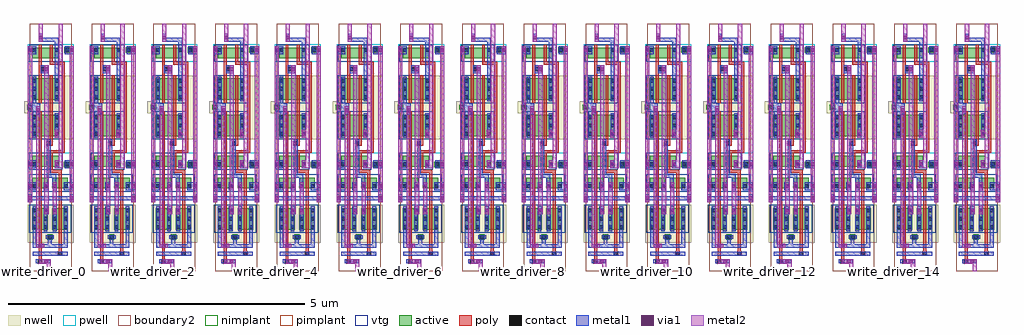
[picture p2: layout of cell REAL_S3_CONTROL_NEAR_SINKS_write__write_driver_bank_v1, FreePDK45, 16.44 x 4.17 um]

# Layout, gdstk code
import gdstk
lib = gdstk.Library(unit=1e-6, precision=1e-09)
def R(c, l, rs):  # rectangles x0, y0, x1, y1
    for r in rs: c.add(gdstk.rectangle(r[:2], r[2:], *l))
def A(c, l, x, y, w, h, nx, ny, dx, dy):  # array of equal rectangles
    R(c, l, [(x+i*dx, y+j*dy, x+i*dx+w, y+j*dy+h) for i in range(nx) for j in range(ny)])
active = (1, 0)
pwell = (2, 0)
nwell = (3, 0)
nimplant = (4, 0)
pimplant = (5, 0)
vtg = (6, 0)
poly = (9, 0)
contact = (10, 0)
metal1 = (11, 0)
via1 = (12, 0)
metal2 = (13, 0)
boundary2 = (239, 0)

real_s3_control_near_sin = lib.new_cell('REAL_S3_CONTROL_NEAR_SINKS_write__write_driver_unit__0__write_driver')
R(real_s3_control_near_sin, active, [(0.292,0.535,0.382,0.625), (0.04,0.705,0.115,1.065), (0.04,0.705,0.115,1.065), (0.04,0.705,0.3,1.065), (0.225,0.705,0.3,1.065), (0.225,0.705,0.3,1.065), (0.38,0.705,0.455,1.065), (0.38,0.705,0.455,1.065), (0.38,0.705,0.64,1.065), (0.565,0.705,0.64,1.065), (0.565,0.705,0.64,1.065), (0.04,0.71,0.115,1.065), (0.225,0.71,0.3,1.065), (0.38,0.71,0.455,1.065), (0.565,0.71,0.64,1.065), (0.04,1.4,0.115,1.58), (0.04,1.4,0.115,1.58), (0.04,1.4,0.3,1.58), (0.04,1.4,0.115,1.475), (0.225,1.4,0.3,1.58), (0.225,1.4,0.3,1.58), (0.225,1.4,0.3,1.475), (0.38,1.4,0.455,1.58), (0.38,1.4,0.455,1.58), (0.38,1.4,0.64,1.58), (0.38,1.4,0.455,1.475), (0.565,1.4,0.64,1.58), (0.565,1.4,0.64,1.58), (0.565,1.4,0.64,1.475), (0.572,1.757,0.662,1.847), (0.04,1.765,0.115,1.945), (0.04,1.765,0.115,1.945), (0.04,1.765,0.115,1.84), (0.04,1.765,0.49,1.945), (0.197,1.765,0.337,1.945), (0.415,1.765,0.49,1.945), (0.415,1.765,0.49,1.945), (0.415,1.765,0.49,1.84), (0.04,2.28,0.115,2.64), (0.04,2.28,0.115,2.64), (0.04,2.28,0.115,2.635), (0.04,2.28,0.49,2.64), (0.197,2.28,0.337,2.64), (0.415,2.28,0.49,2.64), (0.415,2.28,0.49,2.64), (0.415,2.28,0.49,2.635), (-0.045,2.72,0.045,2.81), (0.04,2.892,0.115,3.252), (0.04,2.892,0.115,3.252), (0.04,2.892,0.49,3.252), (0.192,2.892,0.332,3.252), (0.415,2.892,0.49,3.252), (0.415,2.892,0.49,3.252), (0.04,2.897,0.115,3.252), (0.415,2.897,0.49,3.252), (0.04,3.587,0.115,3.767), (0.04,3.587,0.115,3.767), (0.04,3.587,0.49,3.767), (0.192,3.587,0.332,3.767), (0.415,3.587,0.49,3.767), (0.415,3.587,0.49,3.767), (0.575,3.685,0.665,3.775), (0.04,3.692,0.115,3.767), (0.415,3.692,0.49,3.767)])
R(real_s3_control_near_sin, pwell, [(-0.035,1.345,0.74,2), (-0.015,1.345,0.355,1.635), (0.325,1.345,0.695,1.635), (0.517,1.702,0.717,1.902), (-0.015,1.71,0.545,2), (-0.035,3.532,0.74,3.83), (-0.015,3.532,0.545,3.822), (0.52,3.63,0.72,3.83)])
R(real_s3_control_near_sin, nwell, [(-0.035,0.48,0.74,1.12), (0.237,0.48,0.437,0.68), (-0.015,0.65,0.355,1.12), (0.325,0.65,0.695,1.12), (-0.035,2.225,0.74,3.3), (-0.015,2.225,0.545,2.695), (-0.1,2.665,0.1,2.865), (-0.015,2.837,0.545,3.307)])
R(real_s3_control_near_sin, nimplant, [(0.292,0.535,0.382,0.625), (0.04,1.4,0.3,1.58), (0.38,1.4,0.64,1.58), (0.04,1.765,0.49,1.945), (-0.045,2.72,0.045,2.81), (0.04,3.587,0.49,3.767)])
R(real_s3_control_near_sin, pimplant, [(0.04,0.705,0.3,1.065), (0.38,0.705,0.64,1.065), (0.572,1.757,0.662,1.847), (0.04,2.28,0.49,2.64), (0.04,2.892,0.49,3.252), (0.575,3.685,0.665,3.775)])
R(real_s3_control_near_sin, vtg, [(-0.015,0.65,0.355,1.12), (0.325,0.65,0.695,1.12), (-0.015,1.345,0.355,1.635), (0.325,1.345,0.695,1.635), (-0.015,1.71,0.545,2), (-0.015,2.225,0.545,2.695), (-0.015,2.837,0.545,3.307), (-0.015,3.532,0.545,3.822)])
R(real_s3_control_near_sin, poly, [(0.132,0.132,0.207,0.207), (0.145,0.137,0.195,0.65), (0.472,0.262,0.547,0.337), (0.485,0.267,0.535,0.65), (0.145,0.65,0.195,0.705), (0.145,0.65,0.195,1.12), (0.485,0.65,0.535,0.705), (0.485,0.65,0.535,1.12), (0.145,1.065,0.195,1.12), (0.485,1.065,0.535,1.12), (0.145,1.12,0.195,1.345), (0.485,1.12,0.535,1.345), (0.145,1.345,0.195,1.635), (0.145,1.345,0.195,1.4), (0.485,1.345,0.535,1.635), (0.485,1.345,0.535,1.4), (0.145,1.58,0.195,1.635), (0.485,1.58,0.535,1.635), (0.145,1.635,0.195,1.71), (0.485,1.635,0.535,1.66), (0.335,1.66,0.535,1.71), (0.145,1.71,0.195,2), (0.145,1.71,0.195,1.765), (0.335,1.71,0.385,2), (0.335,1.71,0.385,1.765), (0.145,1.945,0.195,2), (0.335,1.945,0.385,2), (0.335,1.995,0.59,2.045), (0.54,1.995,0.59,3.482), (0.145,2,0.195,2.225), (0.277,2.12,0.352,2.195), (0.335,2.12,0.385,2.225), (0.145,2.225,0.195,2.28), (0.145,2.225,0.195,2.695), (0.335,2.225,0.385,2.28), (0.335,2.225,0.385,2.695), (0.145,2.64,0.195,2.695), (0.335,2.64,0.385,2.695), (0.335,2.695,0.385,2.837), (0.145,2.837,0.195,2.892), (0.145,2.837,0.195,3.307), (0.335,2.837,0.385,2.892), (0.335,2.837,0.385,3.307), (0.145,3.252,0.195,3.307), (0.335,3.252,0.385,3.307), (0.145,3.307,0.195,3.532), (0.18,3.37,0.255,3.445), (0.335,3.482,0.59,3.532), (0.145,3.532,0.195,3.822), (0.145,3.532,0.195,3.587), (0.335,3.532,0.385,3.822), (0.335,3.532,0.385,3.587), (0.145,3.767,0.195,3.822), (0.335,3.767,0.385,3.822)])
A(real_s3_control_near_sin, contact, 0.045, 0.715, 0.065, 0.065, 1, 3, 0, 0.14)
A(real_s3_control_near_sin, contact, 0.23, 0.715, 0.065, 0.065, 1, 3, 0, 0.14)
A(real_s3_control_near_sin, contact, 0.385, 0.715, 0.065, 0.065, 1, 3, 0, 0.14)
A(real_s3_control_near_sin, contact, 0.57, 0.715, 0.065, 0.065, 1, 3, 0, 0.14)
A(real_s3_control_near_sin, contact, 0.045, 2.285, 0.065, 0.065, 1, 3, 0, 0.14)
A(real_s3_control_near_sin, contact, 0.42, 2.285, 0.065, 0.065, 1, 3, 0, 0.14)
A(real_s3_control_near_sin, contact, 0.045, 2.902, 0.065, 0.065, 1, 3, 0, 0.14)
A(real_s3_control_near_sin, contact, 0.42, 2.902, 0.065, 0.065, 1, 3, 0, 0.14)
R(real_s3_control_near_sin, contact, [(0.137,0.137,0.202,0.202), (0.477,0.267,0.542,0.332), (0.305,0.547,0.37,0.612), (0.045,1.405,0.11,1.47), (0.23,1.405,0.295,1.47), (0.385,1.405,0.45,1.47), (0.57,1.405,0.635,1.47), (0.045,1.77,0.11,1.835), (0.42,1.77,0.485,1.835), (0.585,1.77,0.65,1.835), (0.282,2.125,0.347,2.19), (-0.032,2.732,0.032,2.797), (0.185,3.375,0.25,3.44), (0.045,3.697,0.11,3.762), (0.42,3.697,0.485,3.762), (0.587,3.697,0.652,3.762)])
R(real_s3_control_near_sin, metal1, [(0.207,0.135,0.342,0.2), (0.102,0.137,0.237,0.202), (0.045,0.267,0.635,0.332), (0.045,0.397,0.635,0.462), (0.105,0.397,0.24,0.462), (0.045,0.462,0.11,0.68), (0.302,0.462,0.367,0.612), (0.57,0.462,0.635,0.68), (0.27,0.547,0.405,0.612), (0.045,0.68,0.11,1.095), (0.23,0.68,0.295,1.095), (0.385,0.68,0.45,1.095), (0.57,0.68,0.635,1.095), (0.247,0.96,0.312,1.095), (0.387,0.96,0.452,1.095), (-0.032,1.165,0.032,1.3), (0.672,1.165,0.737,1.3), (-0.035,1.2,0.74,1.265), (-0.032,1.37,0.032,1.505), (0.027,1.37,0.04,1.505), (0.035,1.37,0.045,1.505), (0.045,1.37,0.11,1.505), (0.23,1.37,0.295,1.505), (0.247,1.37,0.312,1.505), (0.385,1.37,0.45,1.505), (0.387,1.37,0.452,1.505), (0.57,1.37,0.635,1.505), (0.63,1.37,0.672,1.505), (0.672,1.37,0.737,1.505), (0.38,1.452,0.445,1.577), (0.282,1.577,0.347,2.175), (0.282,1.577,0.445,1.642), (-0.032,1.735,0.032,1.87), (0.027,1.735,0.04,1.87), (0.035,1.735,0.045,1.87), (0.045,1.735,0.11,1.87), (0.417,1.735,0.482,1.87), (0.42,1.735,0.485,1.87), (0.585,1.735,0.65,1.87), (0.65,1.735,0.672,1.87), (0.672,1.735,0.737,1.87), (0.282,2.09,0.347,2.225), (0.045,2.25,0.11,2.665), (0.417,2.25,0.482,2.385), (0.42,2.25,0.485,2.665), (0.095,2.65,0.11,2.785), (0.107,2.65,0.172,2.785), (0.045,2.665,0.11,2.867), (-0.032,2.697,0.032,2.832), (0.032,2.697,0.175,2.832), (0.045,2.867,0.11,3.282), (0.42,2.867,0.485,3.282), (0.42,3.282,0.485,3.662), (0.185,3.34,0.25,3.475), (0.247,3.34,0.312,3.475), (-0.032,3.662,0.032,3.797), (0.027,3.662,0.04,3.797), (0.035,3.662,0.045,3.797), (0.045,3.662,0.11,3.797), (0.42,3.662,0.485,3.797), (0.587,3.662,0.652,3.797), (0.652,3.662,0.672,3.797), (0.672,3.662,0.737,3.797), (0.42,3.797,0.485,3.872), (0.15,3.872,0.485,3.937), (0.152,3.872,0.217,4.007)])
R(real_s3_control_near_sin, via1, [(0.242,0.135,0.307,0.2), (0.14,0.397,0.205,0.462), (0.247,0.995,0.312,1.06), (0.387,0.995,0.452,1.06), (-0.032,1.2,0.032,1.265), (0.672,1.2,0.737,1.265), (-0.032,1.405,0.032,1.47), (0.247,1.405,0.312,1.47), (0.387,1.405,0.452,1.47), (0.672,1.405,0.737,1.47), (-0.032,1.77,0.032,1.835), (0.417,1.77,0.482,1.835), (0.672,1.77,0.737,1.835), (0.417,2.285,0.482,2.35), (0.107,2.685,0.172,2.75), (0.247,3.375,0.312,3.44), (-0.032,3.697,0.032,3.762), (0.672,3.697,0.737,3.762), (0.152,3.907,0.217,3.972)])
R(real_s3_control_near_sin, metal2, [(0.28,0,0.35,0.14), (0.157,0.132,0.35,0.202), (0.207,0.132,0.342,0.202), (0.105,0.395,0.24,0.465), (0.105,0.465,0.175,2.785), (0.245,0.96,0.315,1.095), (0.385,0.96,0.455,1.095), (0.245,1.095,0.315,1.37), (0.385,1.095,0.455,1.37), (-0.035,1.162,0.035,3.797), (-0.035,1.165,0.035,1.3), (0.67,1.165,0.74,3.797), (0.67,1.165,0.74,1.3), (-0.035,1.37,0.035,1.505), (0.245,1.37,0.315,3.467), (0.245,1.37,0.315,1.505), (0.385,1.37,0.455,1.505), (0.67,1.37,0.74,1.505), (-0.035,1.735,0.035,1.87), (0.415,1.735,0.485,1.87), (0.485,1.735,0.555,4.175), (0.67,1.735,0.74,1.87), (0.415,2.25,0.485,2.385), (0.105,2.65,0.175,2.785), (0.245,3.34,0.315,3.475), (-0.035,3.662,0.035,3.797), (0.67,3.662,0.74,3.797), (0.15,3.872,0.22,4.007), (0.15,3.875,0.22,4.175)])
R(real_s3_control_near_sin, boundary2, [(0,0,0.705,4.175)])
real_s3_control_near_sin.add(gdstk.Label('en', (0.332,0.3), layer=11, texttype=0))
real_s3_control_near_sin.add(gdstk.Label('din', (0.32,0.035), layer=13, texttype=0))
real_s3_control_near_sin.add(gdstk.Label('vdd', (0.172,0.432), layer=13, texttype=0))
real_s3_control_near_sin.add(gdstk.Label('br', (0.52,4.15), layer=13, texttype=0))
real_s3_control_near_sin.add(gdstk.Label('bl', (0.19,4.138), layer=13, texttype=0))
real_s3_control_near_sin.add(gdstk.Label('gnd', (-0.005,1.57), layer=13, texttype=0))

c_real_s3_control_near_sin = lib.new_cell('REAL_S3_CONTROL_NEAR_SINKS_write__write_driver_bank_v1')
c_real_s3_control_near_sin.add(gdstk.Reference(real_s3_control_near_sin, (0.1,0)))
c_real_s3_control_near_sin.add(gdstk.Reference(real_s3_control_near_sin, (1.14,0)))
c_real_s3_control_near_sin.add(gdstk.Reference(real_s3_control_near_sin, (2.18,0)))
c_real_s3_control_near_sin.add(gdstk.Reference(real_s3_control_near_sin, (3.22,0)))
c_real_s3_control_near_sin.add(gdstk.Reference(real_s3_control_near_sin, (4.26,0)))
c_real_s3_control_near_sin.add(gdstk.Reference(real_s3_control_near_sin, (5.3,0)))
c_real_s3_control_near_sin.add(gdstk.Reference(real_s3_control_near_sin, (6.34,0)))
c_real_s3_control_near_sin.add(gdstk.Reference(real_s3_control_near_sin, (7.38,0)))
c_real_s3_control_near_sin.add(gdstk.Reference(real_s3_control_near_sin, (8.42,0)))
c_real_s3_control_near_sin.add(gdstk.Reference(real_s3_control_near_sin, (9.46,0)))
c_real_s3_control_near_sin.add(gdstk.Reference(real_s3_control_near_sin, (10.5,0)))
c_real_s3_control_near_sin.add(gdstk.Reference(real_s3_control_near_sin, (11.54,0)))
c_real_s3_control_near_sin.add(gdstk.Reference(real_s3_control_near_sin, (12.58,0)))
c_real_s3_control_near_sin.add(gdstk.Reference(real_s3_control_near_sin, (13.62,0)))
c_real_s3_control_near_sin.add(gdstk.Reference(real_s3_control_near_sin, (14.66,0)))
c_real_s3_control_near_sin.add(gdstk.Reference(real_s3_control_near_sin, (15.7,0)))
c_real_s3_control_near_sin.add(gdstk.Label('write_driver_0', (0.1,0), layer=11, texttype=2))
c_real_s3_control_near_sin.add(gdstk.Label('write_driver_1', (1.14,0), layer=11, texttype=2))
c_real_s3_control_near_sin.add(gdstk.Label('write_driver_2', (2.18,0), layer=11, texttype=2))
c_real_s3_control_near_sin.add(gdstk.Label('write_driver_3', (3.22,0), layer=11, texttype=2))
c_real_s3_control_near_sin.add(gdstk.Label('write_driver_4', (4.26,0), layer=11, texttype=2))
c_real_s3_control_near_sin.add(gdstk.Label('write_driver_5', (5.3,0), layer=11, texttype=2))
c_real_s3_control_near_sin.add(gdstk.Label('write_driver_6', (6.34,0), layer=11, texttype=2))
c_real_s3_control_near_sin.add(gdstk.Label('write_driver_7', (7.38,0), layer=11, texttype=2))
c_real_s3_control_near_sin.add(gdstk.Label('write_driver_8', (8.42,0), layer=11, texttype=2))
c_real_s3_control_near_sin.add(gdstk.Label('write_driver_9', (9.46,0), layer=11, texttype=2))
c_real_s3_control_near_sin.add(gdstk.Label('write_driver_10', (10.5,0), layer=11, texttype=2))
c_real_s3_control_near_sin.add(gdstk.Label('write_driver_11', (11.54,0), layer=11, texttype=2))
c_real_s3_control_near_sin.add(gdstk.Label('write_driver_12', (12.58,0), layer=11, texttype=2))
c_real_s3_control_near_sin.add(gdstk.Label('write_driver_13', (13.62,0), layer=11, texttype=2))
c_real_s3_control_near_sin.add(gdstk.Label('write_driver_14', (14.66,0), layer=11, texttype=2))
c_real_s3_control_near_sin.add(gdstk.Label('write_driver_15', (15.7,0), layer=11, texttype=2))

lib.write_gds('REAL_S3_CONTROL_NEAR_SINKS_write__write_driver_bank_v1.gds')
